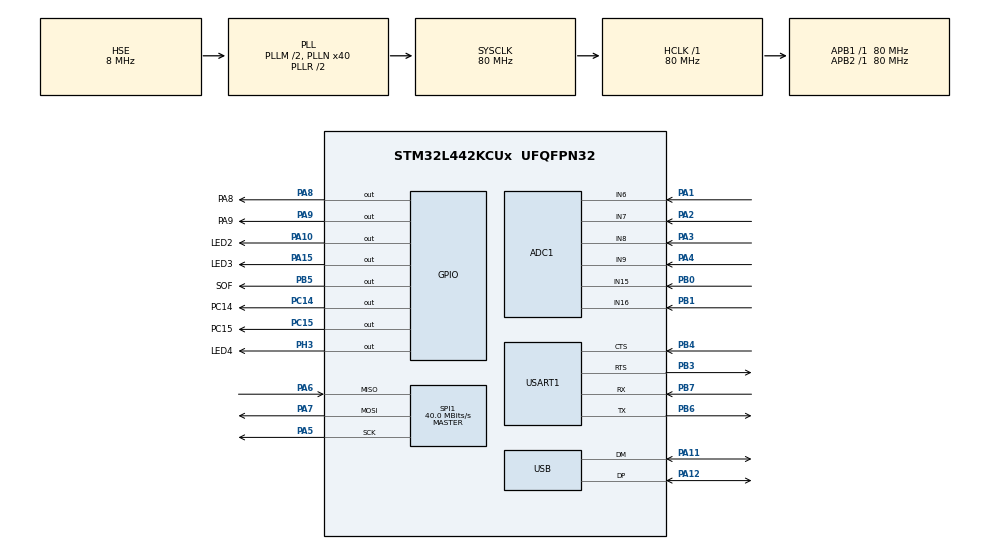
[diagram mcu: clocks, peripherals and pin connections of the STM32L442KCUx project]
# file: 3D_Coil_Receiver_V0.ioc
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ADC1.Channel-0\#ChannelRegularConversion=ADC_CHANNEL_6
ADC1.Channel-1\#ChannelRegularConversion=ADC_CHANNEL_7
ADC1.Channel-2\#ChannelRegularConversion=ADC_CHANNEL_8
ADC1.Channel-3\#ChannelRegularConversion=ADC_CHANNEL_9
ADC1.Channel-4\#ChannelRegularConversion=ADC_CHANNEL_15
ADC1.Channel-5\#ChannelRegularConversion=ADC_CHANNEL_16
ADC1.ClockPrescaler=ADC_CLOCK_SYNC_PCLK_DIV2
ADC1.ContinuousConvMode=ENABLE
ADC1.DMAContinuousRequests=ENABLE
ADC1.EOCSelection=ADC_EOC_SINGLE_CONV
ADC1.NbrOfConversion=6
ADC1.NbrOfConversionFlag=1
ADC1.OffsetNumber-0\#ChannelRegularConversion=ADC_OFFSET_NONE
ADC1.OffsetNumber-1\#ChannelRegularConversion=ADC_OFFSET_NONE
ADC1.OffsetNumber-2\#ChannelRegularConversion=ADC_OFFSET_NONE
ADC1.OffsetNumber-3\#ChannelRegularConversion=ADC_OFFSET_NONE
ADC1.OffsetNumber-4\#ChannelRegularConversion=ADC_OFFSET_NONE
ADC1.OffsetNumber-5\#ChannelRegularConversion=ADC_OFFSET_NONE
ADC1.Rank-0\#ChannelRegularConversion=1
ADC1.Rank-1\#ChannelRegularConversion=2
ADC1.Rank-2\#ChannelRegularConversion=3
ADC1.Rank-3\#ChannelRegularConversion=4
ADC1.Rank-4\#ChannelRegularConversion=5
ADC1.Rank-5\#ChannelRegularConversion=6
ADC1.SamplingTime-0\#ChannelRegularConversion=ADC_SAMPLETIME_12CYCLES_5
ADC1.SamplingTime-1\#ChannelRegularConversion=ADC_SAMPLETIME_12CYCLES_5
ADC1.SamplingTime-2\#ChannelRegularConversion=ADC_SAMPLETIME_12CYCLES_5
ADC1.SamplingTime-3\#ChannelRegularConversion=ADC_SAMPLETIME_12CYCLES_5
ADC1.SamplingTime-4\#ChannelRegularConversion=ADC_SAMPLETIME_12CYCLES_5
ADC1.SamplingTime-5\#ChannelRegularConversion=ADC_SAMPLETIME_12CYCLES_5
ADC1.master=1
Dma.ADC1.0.Direction=DMA_PERIPH_TO_MEMORY
Dma.ADC1.0.Instance=DMA1_Channel1
Dma.ADC1.0.MemDataAlignment=DMA_MDATAALIGN_HALFWORD
Dma.ADC1.0.MemInc=DMA_MINC_ENABLE
Dma.ADC1.0.Mode=DMA_CIRCULAR
Dma.ADC1.0.PeriphDataAlignment=DMA_PDATAALIGN_HALFWORD
Dma.ADC1.0.PeriphInc=DMA_PINC_DISABLE
Dma.ADC1.0.Priority=DMA_PRIORITY_MEDIUM
Dma.Request0=ADC1
Mcu.Family=STM32L4
Mcu.Name=STM32L442KCUx
Mcu.Package=UFQFPN32
NVIC.DMA1_Channel1_IRQn=true\:0\:0\:false\:false\:true\:false\:true
NVIC.PriorityGroup=NVIC_PRIORITYGROUP_4
NVIC.USB_IRQn=true\:0\:0\:false\:false\:true\:false\:true
PA0.Mode=HSE-External-Clock-Source-for-LittleOrca
PA0.Signal=RCC_CK_IN
PA1.Signal=ADCx_IN6
PA10.GPIO_Label=LED2
PA10.Signal=GPIO_Output
PA11.Mode=Device
PA11.Signal=USB_DM
PA12.Mode=Device
PA12.Signal=USB_DP
PA13\ (JTMS-SWDIO).Mode=Serial_Wire
PA13\ (JTMS-SWDIO).Signal=SYS_JTMS-SWDIO
PA14\ (JTCK-SWCLK).Mode=Serial_Wire
PA14\ (JTCK-SWCLK).Signal=SYS_JTCK-SWCLK
PA15\ (JTDI).GPIO_Label=LED3
PA15\ (JTDI).Signal=GPIO_Output
PA2.Signal=ADCx_IN7
PA3.Signal=ADCx_IN8
PA4.Signal=ADCx_IN9
PA5.Mode=Full_Duplex_Master
PA5.Signal=SPI1_SCK
PA6.Mode=Full_Duplex_Master
PA6.Signal=SPI1_MISO
PA7.Mode=Full_Duplex_Master
PA7.Signal=SPI1_MOSI
PA8.GPIO_Label=PA8
PA8.Signal=GPIO_Output
PA9.GPIO_Label=PA9
PA9.Signal=GPIO_Output
PB0.Signal=ADCx_IN15
PB1.Signal=ADCx_IN16
PB3\ (JTDO-TRACESWO).Mode=CTS_RTS
PB3\ (JTDO-TRACESWO).Signal=USART1_RTS
PB4\ (NJTRST).Mode=CTS_RTS
PB4\ (NJTRST).Signal=USART1_CTS
PB5.GPIO_Label=SOF
PB5.Signal=GPIO_Output
PB6.Mode=Asynchronous
PB6.Signal=USART1_TX
PB7.Mode=Asynchronous
PB7.Signal=USART1_RX
PC14-OSC32_IN\ (PC14).GPIO_Label=PC14
PC14-OSC32_IN\ (PC14).Signal=GPIO_Output
PC15-OSC32_OUT\ (PC15).GPIO_Label=PC15
PC15-OSC32_OUT\ (PC15).Signal=GPIO_Output
PH3-BOOT0.GPIO_Label=LED4
PH3-BOOT0.Signal=GPIO_Output
ProjectManager.HeapSize=0x200
ProjectManager.StackSize=0x400
ProjectManager.TargetToolchain=MDK-ARM V5
RCC.ADCFreq_Value=48000000
RCC.AHBFreq_Value=80000000
RCC.APB1Freq_Value=80000000
RCC.APB1TimFreq_Value=80000000
RCC.APB2Freq_Value=80000000
RCC.APB2TimFreq_Value=80000000
RCC.CortexFreq_Value=80000000
RCC.HCLKFreq_Value=80000000
RCC.HSE_VALUE=8000000
RCC.HSI48_VALUE=48000000
RCC.HSI_VALUE=16000000
RCC.LSE_VALUE=32768
RCC.MSI_VALUE=4000000
RCC.PLLM=2
RCC.PLLN=40
RCC.PLLSAI1N=24
RCC.PLLSourceVirtual=RCC_PLLSOURCE_HSE
RCC.SYSCLKFreq_VALUE=80000000
RCC.SYSCLKSource=RCC_SYSCLKSOURCE_PLLCLK
RCC.USBFreq_Value=48000000
RCC.VCOOutputFreq_Value=160000000
SH.ADCx_IN15.0=ADC1_IN15,IN15-Single-Ended
SH.ADCx_IN16.0=ADC1_IN16,IN16-Single-Ended
SH.ADCx_IN6.0=ADC1_IN6,IN6-Single-Ended
SH.ADCx_IN7.0=ADC1_IN7,IN7-Single-Ended
SH.ADCx_IN8.0=ADC1_IN8,IN8-Single-Ended
SH.ADCx_IN9.0=ADC1_IN9,IN9-Single-Ended
SPI1.BaudRatePrescaler=SPI_BAUDRATEPRESCALER_2
SPI1.CalculateBaudRate=40.0 MBits/s
SPI1.Direction=SPI_DIRECTION_2LINES
SPI1.Mode=SPI_MODE_MASTER
SPI1.VirtualType=VM_MASTER
USART1.VirtualMode-Asynchronous=VM_ASYNC
USB_DEVICE.CLASS_NAME_FS=CUSTOM_HID
USB_DEVICE.USBD_CUSTOMHID_OUTREPORT_BUF_SIZE=64
USB_DEVICE.USBD_CUSTOM_HID_REPORT_DESC_SIZE=108
USB_DEVICE.USBD_LPM_ENABLED=0
USB_DEVICE.VirtualMode=CustomHid
USB_DEVICE.VirtualModeFS=Custom_Hid_FS
VP_USB_DEVICE_VS_USB_DEVICE_CUSTOM_HID_FS.Mode=CUSTOM_HID_FS
board=custom

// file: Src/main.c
/* USER CODE BEGIN Header */
/**
  ******************************************************************************
  * @file           : main.c
  * @brief          : Main program body
  ******************************************************************************
  * @attention
  *
  * <h2><center>&copy; Copyright (c) 2019 STMicroelectronics.
  * All rights reserved.</center></h2>
  *
  * This software component is licensed by ST under BSD 3-Clause license,
  * the "License"; You may not use this file except in compliance with the
  * License. You may obtain a copy of the License at:
  *                        opensource.org/licenses/BSD-3-Clause
  *
  ******************************************************************************
  */
/* USER CODE END Header */

#include "main.h"
#include "usb_device.h"

/* USER CODE BEGIN Includes */
	#include "math.h"
/* USER CODE END Includes */

/* USER CODE BEGIN PTD */
#define ADC_DMA_SIZE      6	// If 256 time between ADC interrupts 160 us
/* USER CODE END PTD */

/* USER CODE BEGIN PD */
extern int send_massage;
uint32_t i, k, j, l;
float fff = 800, zzz;
uint16_t adc[ADC_DMA_SIZE] = {0,};
//uint32_t adc_max[ADC_DMA_SIZE] = {0,};
uint32_t ADC1_value[ADC_DMA_SIZE] = {0,};
//uint32_t ADC1_max_value[ADC_DMA_SIZE] = {0,};
uint16_t adc_data_ready = 0, mean_counter = 16, adc_counter = 0;
/* USER CODE END PD */

/* USER CODE BEGIN PM */
#define ADC_MEAN_VALUE      					32
#define TORNADO				      					1

/* USER CODE END PM */

ADC_HandleTypeDef hadc1;
DMA_HandleTypeDef hdma_adc1;

SPI_HandleTypeDef hspi1;

UART_HandleTypeDef huart1;

/* USER CODE BEGIN PV */
extern USBD_HandleTypeDef  hUsbDeviceFS;

uint8_t USB_HID_dataToSend[USB_HID_DATA_TO_HOST_LENGTH + 1];

uint8_t btn_stat=0;
/* USER CODE END PV */

void SystemClock_Config(void);
static void MX_GPIO_Init(void);
static void MX_ADC1_Init(void);
static void MX_SPI1_Init(void);
static void MX_USART1_UART_Init(void);
static void MX_DMA_Init(void);
/* USER CODE BEGIN PFP */

#ifndef __CDS_AHRS_DUAL_KF_H
#define __CDS_AHRS_DUAL_KF_H

#define HID

typedef struct CDS_AHRS_Dual_KF_data_struct {
	//данные от датчиков
	#ifndef HID
	float Start;//если не HID
	#endif
	float accel[3];
	float gyro[3];
	float mag[3];
	//кватернион
	float q[4];
	//углы поворота
	float pitch;
	float roll;
	float yaw;
} CDS_AHRS_Dual_KF_data_t, *CDS_AHRS_Dual_KF_data_p;

void CDS_AHRS_Quaternion_Dual_KF(CDS_AHRS_Dual_KF_data_p data,float dt);

//Для тестирования ---------
//static float P_k1[4][4];
//static float H[8][4];
//static float R[8][8];

//Для тестирования ---------

#endif /* _CDS_AHRS_DUAL_KF_H */

struct CDS_AHRS_Dual_KF_data_struct Data_to_send, *Data_to_send_p;
uint8_t dataToSend_TRND[USB_HID_DATA_TO_HOST_LENGTH + 1], *p1;
void *p;
/* USER CODE END PFP */

int main(void)
{

  /* MCU Configuration--------------------------------------------------------*/

  /* Reset of all peripherals, Initializes the Flash interface and the Systick. */
  HAL_Init();

  /* Configure the system clock */
  SystemClock_Config();

  /* USER CODE BEGIN SysInit */
		SysTick_Config(SystemCoreClock/100);
  /* USER CODE END SysInit */

  /* Initialize all configured peripherals */
	MX_DMA_Init();
  MX_GPIO_Init();
  MX_ADC1_Init();
  MX_SPI1_Init();
  MX_USART1_UART_Init();

  MX_USB_DEVICE_Init();
  /* USER CODE BEGIN 2 */
HAL_ADCEx_Calibration_Start(&hadc1, ADC_SINGLE_ENDED);
HAL_ADC_Start_DMA(&hadc1, (uint32_t*)&adc, ADC_DMA_SIZE); // стартуем АЦП
  /* USER CODE END 2 */

  /* Infinite loop */
  /* USER CODE BEGIN WHILE */
  while (1)
  {
		if(send_massage){
						HAL_ADC_Start_DMA(&hadc1, (uint32_t*)&adc, ADC_DMA_SIZE);
		send_massage = 0;
	if(TORNADO){
		if(fff < 2300) fff+=3;
		else{fff = 1800;}
//		Data_to_send.mag[1] = fff;

 Data_to_send.mag[0] = ADC1_value[0];
 Data_to_send.mag[1] = ADC1_value[2];
 Data_to_send.mag[2] = ADC1_value[4];

		Data_to_send.gyro[0] = ADC1_value[0];
		Data_to_send.gyro[1] = ADC1_value[2];
		Data_to_send.gyro[2] = ADC1_value[4];

		if(zzz < 100)zzz++;

		Data_to_send.roll = ADC1_value[1];
		Data_to_send.pitch = ADC1_value[5];
		Data_to_send.yaw = ADC1_value[3];
		Data_to_send.q[0] = zzz/10;

	dataToSend_TRND[0] = USB_HID_DATA_TO_HOST_REPORT_ID;
	for(int i = 0; i < 64; i++){
	dataToSend_TRND[i + 1] = *(p1 + i);
//				dataToSend_TRND[i] = 65 - i;
	}
	adc_data_ready = 0;
		dataToSend_TRND[0] = 1;
						USBD_CUSTOM_HID_SendReport(&hUsbDeviceFS, dataToSend_TRND, sizeof(dataToSend_TRND));
HAL_GPIO_TogglePin(GPIOA, GPIO_PIN_9);
	}
		else{
			if(btn_stat==0)        {USB_HID_dataToSend[0] = 1;USB_HID_dataToSend[1] = 1;
				USBD_CUSTOM_HID_SendReport(&hUsbDeviceFS, USB_HID_dataToSend, sizeof(USB_HID_dataToSend));
			HAL_GPIO_WritePin(LED3_GPIO_Port, LED3_Pin, GPIO_PIN_SET);
						 }

        else if(btn_stat==1)        {USB_HID_dataToSend[0] = 1;USB_HID_dataToSend[1] = 0;
					USBD_CUSTOM_HID_SendReport(&hUsbDeviceFS, USB_HID_dataToSend, sizeof(USB_HID_dataToSend));
			HAL_GPIO_WritePin(LED3_GPIO_Port, LED3_Pin, GPIO_PIN_RESET);
				}

        else if(btn_stat==2)        {USB_HID_dataToSend[0] = 5;USB_HID_dataToSend[1] = 1;
					USBD_CUSTOM_HID_SendReport(&hUsbDeviceFS, USB_HID_dataToSend, sizeof(USB_HID_dataToSend));
			HAL_GPIO_WritePin(LED4_GPIO_Port, LED4_Pin, GPIO_PIN_SET);
				}

        else if(btn_stat==3)        {USB_HID_dataToSend[0] = 5;USB_HID_dataToSend[1] = 0;
					USBD_CUSTOM_HID_SendReport(&hUsbDeviceFS, USB_HID_dataToSend, sizeof(USB_HID_dataToSend));
			HAL_GPIO_WritePin(LED4_GPIO_Port, LED4_Pin, GPIO_PIN_RESET);
				}

        USB_HID_dataToSend[2] = 'H';

				USB_HID_dataToSend[3] = 'I';

        USB_HID_dataToSend[4] = 'D';

        btn_stat++;

        if(btn_stat>3) btn_stat=0;}
		}
    /* USER CODE END WHILE */

  }
}

void SystemClock_Config(void)
{
  RCC_OscInitTypeDef RCC_OscInitStruct = {0};
  RCC_ClkInitTypeDef RCC_ClkInitStruct = {0};
  RCC_PeriphCLKInitTypeDef PeriphClkInit = {0};

  /** Initializes the CPU, AHB and APB busses clocks
  */
  RCC_OscInitStruct.OscillatorType = RCC_OSCILLATORTYPE_HSE;
  RCC_OscInitStruct.HSEState = RCC_HSE_BYPASS;
  RCC_OscInitStruct.PLL.PLLState = RCC_PLL_ON;
  RCC_OscInitStruct.PLL.PLLSource = RCC_PLLSOURCE_HSE;
  RCC_OscInitStruct.PLL.PLLM = 2;
  RCC_OscInitStruct.PLL.PLLN = 40;
  RCC_OscInitStruct.PLL.PLLP = RCC_PLLP_DIV7;
  RCC_OscInitStruct.PLL.PLLQ = RCC_PLLQ_DIV2;
  RCC_OscInitStruct.PLL.PLLR = RCC_PLLR_DIV2;
  if (HAL_RCC_OscConfig(&RCC_OscInitStruct) != HAL_OK)
  {
    Error_Handler();
  }
  /** Initializes the CPU, AHB and APB busses clocks
  */
  RCC_ClkInitStruct.ClockType = RCC_CLOCKTYPE_HCLK|RCC_CLOCKTYPE_SYSCLK
                              |RCC_CLOCKTYPE_PCLK1|RCC_CLOCKTYPE_PCLK2;
  RCC_ClkInitStruct.SYSCLKSource = RCC_SYSCLKSOURCE_PLLCLK;
  RCC_ClkInitStruct.AHBCLKDivider = RCC_SYSCLK_DIV1;
  RCC_ClkInitStruct.APB1CLKDivider = RCC_HCLK_DIV1;
  RCC_ClkInitStruct.APB2CLKDivider = RCC_HCLK_DIV1;

  if (HAL_RCC_ClockConfig(&RCC_ClkInitStruct, FLASH_LATENCY_4) != HAL_OK)
  {
    Error_Handler();
  }
  PeriphClkInit.PeriphClockSelection = RCC_PERIPHCLK_USART1|RCC_PERIPHCLK_USB
                              |RCC_PERIPHCLK_ADC;
  PeriphClkInit.Usart1ClockSelection = RCC_USART1CLKSOURCE_PCLK2;
  PeriphClkInit.AdcClockSelection = RCC_ADCCLKSOURCE_PLLSAI1;
  PeriphClkInit.UsbClockSelection = RCC_USBCLKSOURCE_PLLSAI1;
  PeriphClkInit.PLLSAI1.PLLSAI1Source = RCC_PLLSOURCE_HSE;
  PeriphClkInit.PLLSAI1.PLLSAI1M = 2;
  PeriphClkInit.PLLSAI1.PLLSAI1N = 24;
  PeriphClkInit.PLLSAI1.PLLSAI1P = RCC_PLLP_DIV7;
  PeriphClkInit.PLLSAI1.PLLSAI1Q = RCC_PLLQ_DIV2;
  PeriphClkInit.PLLSAI1.PLLSAI1R = RCC_PLLR_DIV2;
  PeriphClkInit.PLLSAI1.PLLSAI1ClockOut = RCC_PLLSAI1_48M2CLK|RCC_PLLSAI1_ADC1CLK;
  if (HAL_RCCEx_PeriphCLKConfig(&PeriphClkInit) != HAL_OK)
  {
    Error_Handler();
  }
  /** Configure the main internal regulator output voltage
  */
  if (HAL_PWREx_ControlVoltageScaling(PWR_REGULATOR_VOLTAGE_SCALE1) != HAL_OK)
  {
    Error_Handler();
  }
}

static void MX_ADC1_Init(void)
{

  ADC_ChannelConfTypeDef sConfig = {0};

  /** Common config
  */
  hadc1.Instance = ADC1;
  hadc1.Init.ClockPrescaler = ADC_CLOCK_SYNC_PCLK_DIV2;
  hadc1.Init.Resolution = ADC_RESOLUTION_12B;
  hadc1.Init.DataAlign = ADC_DATAALIGN_RIGHT;
  hadc1.Init.ScanConvMode = ADC_SCAN_ENABLE;
  hadc1.Init.EOCSelection = ADC_EOC_SINGLE_CONV;
  hadc1.Init.LowPowerAutoWait = DISABLE;
  hadc1.Init.ContinuousConvMode = ENABLE;
  hadc1.Init.NbrOfConversion = 6;
  hadc1.Init.DiscontinuousConvMode = DISABLE;
  hadc1.Init.ExternalTrigConv = ADC_SOFTWARE_START;
  hadc1.Init.ExternalTrigConvEdge = ADC_EXTERNALTRIGCONVEDGE_NONE;
  hadc1.Init.DMAContinuousRequests = ENABLE;
  hadc1.Init.Overrun = ADC_OVR_DATA_PRESERVED;
  hadc1.Init.OversamplingMode = DISABLE;
  if (HAL_ADC_Init(&hadc1) != HAL_OK)
  {
    Error_Handler();
  }
  /** Configure Regular Channel
  */
  sConfig.Channel = ADC_CHANNEL_6;
  sConfig.Rank = ADC_REGULAR_RANK_1;
  sConfig.SamplingTime = ADC_SAMPLETIME_12CYCLES_5;
  sConfig.SingleDiff = ADC_SINGLE_ENDED;
  sConfig.OffsetNumber = ADC_OFFSET_NONE;
  sConfig.Offset = 0;
  if (HAL_ADC_ConfigChannel(&hadc1, &sConfig) != HAL_OK)
  {
    Error_Handler();
  }
  /** Configure Regular Channel
  */
  sConfig.Channel = ADC_CHANNEL_7;
  sConfig.Rank = ADC_REGULAR_RANK_2;
  if (HAL_ADC_ConfigChannel(&hadc1, &sConfig) != HAL_OK)
  {
    Error_Handler();
  }
  /** Configure Regular Channel
  */
  sConfig.Channel = ADC_CHANNEL_8;
  sConfig.Rank = ADC_REGULAR_RANK_3;
  if (HAL_ADC_ConfigChannel(&hadc1, &sConfig) != HAL_OK)
  {
    Error_Handler();
  }
  /** Configure Regular Channel
  */
  sConfig.Channel = ADC_CHANNEL_9;
  sConfig.Rank = ADC_REGULAR_RANK_4;
  if (HAL_ADC_ConfigChannel(&hadc1, &sConfig) != HAL_OK)
  {
    Error_Handler();
  }
  /** Configure Regular Channel
  */
  sConfig.Channel = ADC_CHANNEL_15;
  sConfig.Rank = ADC_REGULAR_RANK_5;
  if (HAL_ADC_ConfigChannel(&hadc1, &sConfig) != HAL_OK)
  {
    Error_Handler();
  }
  /** Configure Regular Channel
  */
  sConfig.Channel = ADC_CHANNEL_16;
  sConfig.Rank = ADC_REGULAR_RANK_6;
  if (HAL_ADC_ConfigChannel(&hadc1, &sConfig) != HAL_OK)
  {
    Error_Handler();
  }

}

static void MX_SPI1_Init(void)
{

  /* SPI1 parameter configuration*/
  hspi1.Instance = SPI1;
  hspi1.Init.Mode = SPI_MODE_MASTER;
  hspi1.Init.Direction = SPI_DIRECTION_2LINES;
  hspi1.Init.DataSize = SPI_DATASIZE_4BIT;
  hspi1.Init.CLKPolarity = SPI_POLARITY_LOW;
  hspi1.Init.CLKPhase = SPI_PHASE_1EDGE;
  hspi1.Init.NSS = SPI_NSS_SOFT;
  hspi1.Init.BaudRatePrescaler = SPI_BAUDRATEPRESCALER_2;
  hspi1.Init.FirstBit = SPI_FIRSTBIT_MSB;
  hspi1.Init.TIMode = SPI_TIMODE_DISABLE;
  hspi1.Init.CRCCalculation = SPI_CRCCALCULATION_DISABLE;
  hspi1.Init.CRCPolynomial = 7;
  hspi1.Init.CRCLength = SPI_CRC_LENGTH_DATASIZE;
  hspi1.Init.NSSPMode = SPI_NSS_PULSE_ENABLE;
  if (HAL_SPI_Init(&hspi1) != HAL_OK)
  {
    Error_Handler();
  }

}

static void MX_USART1_UART_Init(void)
{

  huart1.Instance = USART1;
  huart1.Init.BaudRate = 115200;
  huart1.Init.WordLength = UART_WORDLENGTH_8B;
  huart1.Init.StopBits = UART_STOPBITS_1;
  huart1.Init.Parity = UART_PARITY_NONE;
  huart1.Init.Mode = UART_MODE_TX_RX;
  huart1.Init.HwFlowCtl = UART_HWCONTROL_RTS_CTS;
  huart1.Init.OverSampling = UART_OVERSAMPLING_16;
  huart1.Init.OneBitSampling = UART_ONE_BIT_SAMPLE_DISABLE;
  huart1.AdvancedInit.AdvFeatureInit = UART_ADVFEATURE_NO_INIT;
  if (HAL_UART_Init(&huart1) != HAL_OK)
  {
    Error_Handler();
  }

}

static void MX_DMA_Init(void)
{

  /* DMA controller clock enable */
  __HAL_RCC_DMA1_CLK_ENABLE();

  /* DMA interrupt init */
  /* DMA1_Channel1_IRQn interrupt configuration */
  HAL_NVIC_SetPriority(DMA1_Channel1_IRQn, 0, 0);
  HAL_NVIC_EnableIRQ(DMA1_Channel1_IRQn);

}

static void MX_GPIO_Init(void)
{
  GPIO_InitTypeDef GPIO_InitStruct = {0};

  /* GPIO Ports Clock Enable */
  __HAL_RCC_GPIOC_CLK_ENABLE();
  __HAL_RCC_GPIOA_CLK_ENABLE();
  __HAL_RCC_GPIOB_CLK_ENABLE();
  __HAL_RCC_GPIOH_CLK_ENABLE();

  /*Configure GPIO pin Output Level */
  HAL_GPIO_WritePin(GPIOC, PC14_Pin|PC15_Pin, GPIO_PIN_RESET);

  /*Configure GPIO pin Output Level */
  HAL_GPIO_WritePin(GPIOA, PA8_Pin|PA9_Pin|LED2_Pin|LED3_Pin, GPIO_PIN_RESET);

  /*Configure GPIO pin Output Level */
  HAL_GPIO_WritePin(SOF_GPIO_Port, SOF_Pin, GPIO_PIN_RESET);

  /*Configure GPIO pin Output Level */
  HAL_GPIO_WritePin(LED4_GPIO_Port, LED4_Pin, GPIO_PIN_RESET);

  /*Configure GPIO pins : PC14_Pin PC15_Pin */
  GPIO_InitStruct.Pin = PC14_Pin|PC15_Pin;
  GPIO_InitStruct.Mode = GPIO_MODE_OUTPUT_PP;
  GPIO_InitStruct.Pull = GPIO_NOPULL;
  GPIO_InitStruct.Speed = GPIO_SPEED_FREQ_LOW;
  HAL_GPIO_Init(GPIOC, &GPIO_InitStruct);

  /*Configure GPIO pins : PA8_Pin PA9_Pin LED2_Pin LED3_Pin */
  GPIO_InitStruct.Pin = PA8_Pin|PA9_Pin|LED2_Pin|LED3_Pin;
  GPIO_InitStruct.Mode = GPIO_MODE_OUTPUT_PP;
  GPIO_InitStruct.Pull = GPIO_NOPULL;
  GPIO_InitStruct.Speed = GPIO_SPEED_FREQ_LOW;
  HAL_GPIO_Init(GPIOA, &GPIO_InitStruct);

  /*Configure GPIO pin : SOF_Pin */
  GPIO_InitStruct.Pin = SOF_Pin;
  GPIO_InitStruct.Mode = GPIO_MODE_OUTPUT_PP;
  GPIO_InitStruct.Pull = GPIO_NOPULL;
  GPIO_InitStruct.Speed = GPIO_SPEED_FREQ_LOW;
  HAL_GPIO_Init(SOF_GPIO_Port, &GPIO_InitStruct);

  /*Configure GPIO pin : LED4_Pin */
  GPIO_InitStruct.Pin = LED4_Pin;
  GPIO_InitStruct.Mode = GPIO_MODE_OUTPUT_PP;
  GPIO_InitStruct.Pull = GPIO_NOPULL;
  GPIO_InitStruct.Speed = GPIO_SPEED_FREQ_LOW;
  HAL_GPIO_Init(LED4_GPIO_Port, &GPIO_InitStruct);

}

/* USER CODE BEGIN 4 */
void HAL_ADC_ConvCpltCallback(ADC_HandleTypeDef* hadc)
{
	HAL_GPIO_WritePin(GPIOA, GPIO_PIN_8, GPIO_PIN_SET);
	adc_counter++;
    if(hadc->Instance == ADC1)
    {
      HAL_ADC_Stop_DMA(&hadc1);

			ADC1_value[0] = adc[0];
			ADC1_value[1] = adc[1];
			ADC1_value[2] = adc[2];
			ADC1_value[3] = adc[3];
			ADC1_value[4] = adc[4];
			ADC1_value[5] = adc[5];

				adc_data_ready = 1;
    }
	HAL_GPIO_WritePin(GPIOA, GPIO_PIN_8, GPIO_PIN_RESET);
}
/* USER CODE END 4 */

void Error_Handler(void)
{
}

/************************ (C) COPYRIGHT STMicroelectronics *****END OF FILE****/
